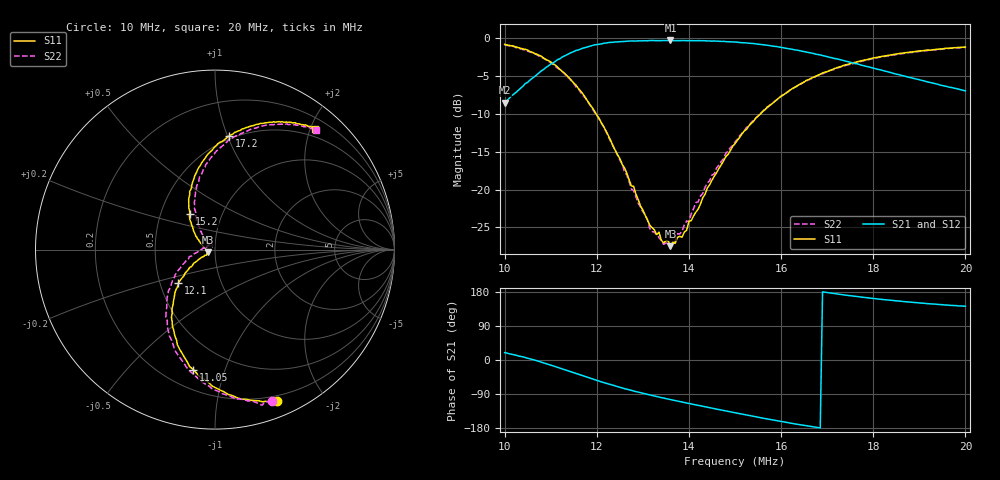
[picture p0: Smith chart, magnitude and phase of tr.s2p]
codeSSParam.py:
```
# -*- coding: utf-8 -*-
"""
S-Parameter Analysis at 13.56 MHz: Current, Power, and Z21 Computation
@author: adapted
"""

import skrf as rf
import matplotlib.pyplot as plt
import numpy as np
from skrf.plotting import plot_smith

# === Load .s2p file ===
network = rf.Network("tr.s2p")  # Replace with your actual file

# === Parameters ===
Z0 = 50
ZL = 50 + 0j
a1 = 1
f = network.f
f_MHz = f / 1e6

# === Extract S-parameters ===
S11 = network.s[:, 0, 0]
S21 = network.s[:, 1, 0]
S12 = network.s[:, 0, 1]
S22 = network.s[:, 1, 1]

# === Load reflection coefficient ===
Gamma_L = (ZL - Z0) / (ZL + Z0)

# === Reflected wave at port 2 ===
b2 = (S21 * a1) / (1 - S22 * Gamma_L)
a2 = Gamma_L * b2

# === Current into the load ===
I2 = (a2 - b2) / np.sqrt(Z0)
I2_rms = np.abs(I2) / np.sqrt(2)

# === Power delivered to the load ===
P_L = np.abs(b2)**2 * (1 - np.abs(Gamma_L)**2)

# === Loaded S21 definition ===
S21_loaded = S21 * (1 + Gamma_L) / (1 - S22 * Gamma_L)

# === Input reflection coefficient and power ===
Gamma_in = S11 + (S12 * S21 * Gamma_L) / (1 - S22 * Gamma_L)
Z_in = Z0 * (1 + Gamma_in) / (1 - Gamma_in)
P_in = (np.abs(a1)**2) * (1 - np.abs(Gamma_in)**2)

# === Efficiency ===
eta = (P_L / P_in) * 100

# === Transform S -> Z matrix ===
Z_matrices = []
I = np.identity(2)

for i in range(len(f)):
    S = np.array([[S11[i], S12[i]], [S21[i], S22[i]]])
    Z = Z0 * (I + S) @ np.linalg.inv(I - S)
    Z_matrices.append(Z)

Z_matrices = np.array(Z_matrices)
Z21 = Z_matrices[:, 1, 0]

# === Results at 13.56 MHz ===
f_target = 13.56e6
idx = np.argmin(np.abs(f - f_target))

print(f"--- Results at {f[idx]/1e6:.3f} MHz ---")
print(f"Z_in (input impedance) = {np.abs(Z_in[idx]):.2f} Ω ∠ {np.angle(Z_in[idx], deg=True):.2f}°")
print(f"|S21_loaded|         = {20*np.log10(np.abs(S21_loaded[idx])):.2f} dB")
print(f"|S11|                = {20*np.log10(np.abs(S11[idx])):.2f} dB")
print(f"Γ_L (magnitude)      = {np.abs(Gamma_L):.4f} ∠ {np.angle(Gamma_L, deg=True):.2f}°")
print(f"I2 (RMS)             = {I2_rms[idx]*1000:.2f} mA")
print(f"P_L (delivered)      = {P_L[idx]*1000:.2f} mW")
print(f"Efficiency η         = {eta[idx]:.2f} %")
print(f"Z21 = {np.abs(Z21[idx]):.2f} Ω ∠ {np.angle(Z21[idx], deg=True):.2f}°")
M12 = (np.abs(Z21[idx]) * np.abs(np.sin(np.angle(Z21[idx]))) / (2 * np.pi * f_target)) # Mutual inductance
print(f"M12 = {M12:.2e}")
K = M12/1.67053e-6 # Coupling Factor
print(f"K = {K:.2e}")

# === Plots ===
plt.figure(figsize=(12, 8))

plt.subplot(3, 1, 1)
plt.plot(f_MHz, 20*np.log10(np.abs(S21_loaded)), label='|S21_loaded| (dB)')
plt.plot(f_MHz, 20*np.log10(np.abs(S11)), label='|S11| (dB)', linestyle='--')
plt.ylabel('Magnitude (dB)')
plt.title(f'Loaded Response with ZL = {ZL} Ω')
plt.legend(); plt.grid(True)

plt.subplot(3, 1, 2)
plt.plot(f_MHz, I2_rms*1000, color='red')
plt.ylabel('Current I2 (mA RMS)')
plt.title('RMS Current into Load')
plt.grid(True)

plt.subplot(3, 1, 3)
plt.plot(f_MHz, P_L*1000, color='green')
plt.xlabel('Frequency (MHz)')
plt.ylabel('Delivered Power (mW)')
plt.title('Power Delivered to Load')
plt.grid(True)

plt.tight_layout()
plt.show()
```
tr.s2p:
!Agilent Technologies,N5242A,MY48220567,A.08.20.12
!Agilent N5242A: A.08.20.12
!Date: Thursday, May 22, 2025 17:52:54
!Correction: S11(Full 2 Port(1,2))
!S21(Full 2 Port(1,2))
!S12(Full 2 Port(1,2))
!S22(Full 2 Port(1,2))
!S2P File: Measurements: S11, S21, S12, S22:
# Hz S  dB  R 50
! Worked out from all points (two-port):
!   201 points, 10 MHz to 20 MHz, reference 50 ohm
!   highest |S21| = -0.28 dB at 13.6 MHz (marker M1); lowest = -8.5 dB at 10 MHz (marker M2)
!   |S21| within 3 dB of the highest: 11.04 MHz to 17.57 MHz (6.527 MHz wide, 45.6 % of centre)
!   lowest |S11| = -27.5 dB at 13.6 MHz (marker M3), VSWR 1.09, Z = 46.2 - j1.33 ohm
!   |S11| at or under -10 dB: 11.99 MHz to 15.55 MHz (3.562 MHz wide, 25.9 % of centre)
!   |S22| runs from -27.4 to -0.9 dB; largest |S21 - S12| = 0.0081
!   S11 on the Smith chart (normalised r, x): 10 MHz: 0.15, -1.48; 11.05 MHz: 0.32, -0.79; 12.1 MHz: 0.62, -0.25; 15.2 MHz: 0.70, +0.30; 17.2 MHz: 0.48, +1.02; 20 MHz: 0.36, +2.08
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1e7  -0.80 -67.6  -8.52 19.5  -8.43 19.6  -0.90 -69.5
1.105e7  -3.36 -100.2  -3.25 -15.3  -3.21 -15.4  -3.44 -103.8
1.155e7  -6.18 -118.8  -1.59 -35.7  -1.59 -35.9  -6.41 -123.8
1.21e7  -11.16 -137.4  -0.74 -57.7  -0.73 -57.9  -11.22 -145.6
1.315e7  -24.70 -147.3  -0.29 -92.3  -0.30 -92.2  -25.14 170.7
1.36e7  -27.47 -160.1  -0.28 -104.4  -0.29 -104.4  -27.44 142.1
1.5e7  -13.92 131.4  -0.49 -139.2  -0.49 -139.0  -13.71 120.0
1.52e7  -12.24 125.3  -0.59 -143.9  -0.61 -143.7  -12.27 116.9
1.61e7  -7.25 104.4  -1.31 -164.2  -1.29 -164.2  -7.26 99.5
1.72e7  -3.90 82.8  -2.69 174.4  -2.69 174.5  -3.97 80.8
2e7  -1.16 50.3  -6.94 141.8  -6.92 141.8  -1.18 49.6
